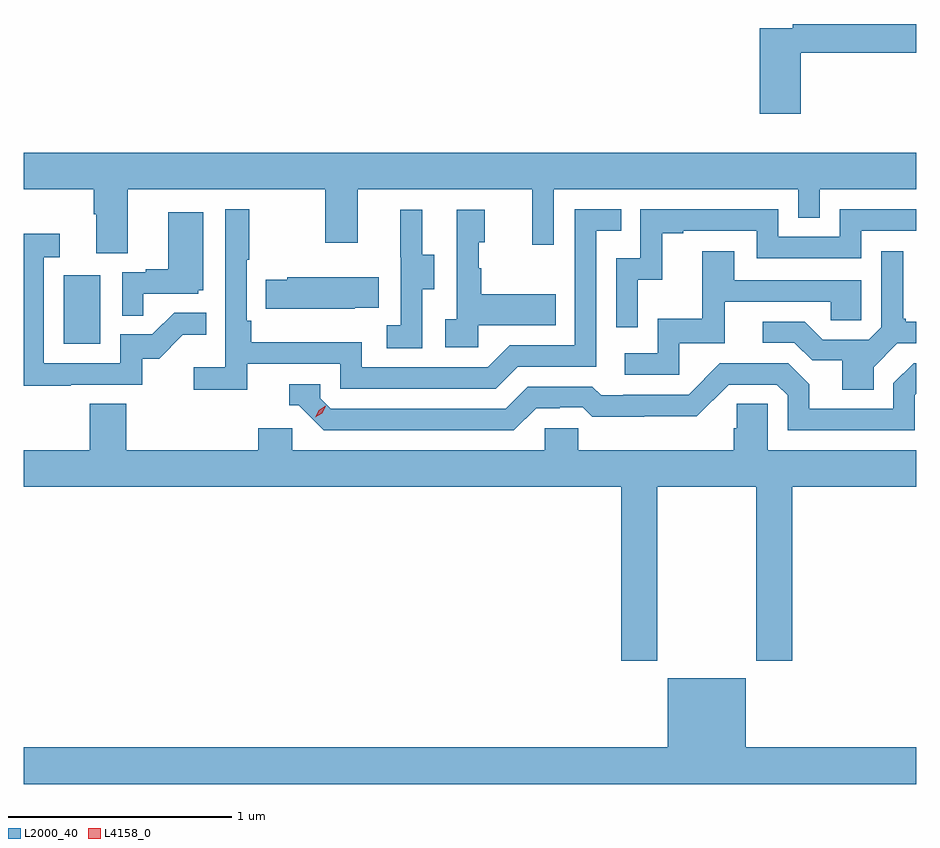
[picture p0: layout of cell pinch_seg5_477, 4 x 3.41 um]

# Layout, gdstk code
import gdstk
lib = gdstk.Library(unit=1e-6, precision=1e-09)
def R(c, l, rs):  # rectangles x0, y0, x1, y1
    for r in rs: c.add(gdstk.rectangle(r[:2], r[2:], *l))
def P(c, l, *ps):  # polygons
    for p in ps: c.add(gdstk.Polygon(p, *l))
L2000_40 = (2000, 40)
L4158_0 = (4158, 0)

pinch_seg5_477 = lib.new_cell('pinch_seg5_477')
R(pinch_seg5_477, L2000_40, [(940.322,837.42,940.486,837.727)])
P(pinch_seg5_477, L2000_40, [(943.625,838.725),(944.143,838.725),(944.143,838.853),(943.588,838.853),(943.588,838.833),(943.442,838.833),(943.442,838.452),(943.625,838.452)],
  [(940.609,838.112),(941.494,838.112),(941.494,837.873),(941.641,837.873),(941.641,838.112),(942.422,838.112),(942.422,837.864),(942.519,837.864),(942.519,838.112),(943.614,838.112),(943.614,837.985),(943.71,837.985),(943.71,838.112),(944.143,838.112),(944.143,838.276),(940.143,838.276),(940.143,838.112),(940.457,838.112),(940.457,838),(940.469,838),(940.469,837.826),(940.609,837.826)],
  [(941.144,837.33),(941.562,837.33),(941.562,837.219),(942.259,837.219),(942.358,837.318),(942.708,837.318),(942.708,837.927),(942.821,837.927),(942.821,838.023),(942.612,838.023),(942.612,837.414),(942.321,837.414),(942.222,837.315),(941.658,837.315),(941.658,837.427),(941.162,837.427),(941.162,837.523),(941.142,837.523),(941.142,837.796),(941.155,837.796),(941.155,838.024),(941.046,838.024),(941.046,837.316),(940.905,837.316),(940.905,837.214),(941.144,837.214)],
  [(942.894,837.707),(943.004,837.707),(943.004,837.915),(943.099,837.915),(943.099,837.927),(943.428,837.927),(943.428,837.804),(943.896,837.804),(943.896,837.927),(944.143,837.927),(944.143,838.023),(943.8,838.023),(943.8,837.9),(943.524,837.9),(943.524,838.023),(942.906,838.023),(942.906,837.804),(942.798,837.804),(942.798,837.495),(942.894,837.495)],
  [(941.928,837.664),(941.983,837.664),(941.983,837.819),(941.929,837.819),(941.929,838.021),(941.831,838.021),(941.831,837.807),(941.832,837.807),(941.832,837.503),(941.769,837.503),(941.769,837.4),(941.928,837.4)],
  [(942.18,837.503),(942.527,837.503),(942.527,837.643),(942.193,837.643),(942.193,837.758),(942.183,837.758),(942.183,837.876),(942.208,837.876),(942.208,838.021),(942.084,838.021),(942.084,837.53),(942.033,837.53),(942.033,837.405),(942.18,837.405)],
  [(940.679,837.645),(940.926,837.645),(940.926,837.66),(940.948,837.66),(940.948,838.009),(940.79,838.009),(940.79,837.754),(940.691,837.754),(940.691,837.741),(940.584,837.741),(940.584,837.547),(940.679,837.547)],
  [(940.355,837.237),(940.674,837.237),(940.674,837.354),(940.75,837.354),(940.857,837.461),(940.961,837.461),(940.961,837.56),(940.817,837.56),(940.719,837.462),(940.575,837.462),(940.575,837.333),(940.233,837.333),(940.233,837.807),(940.306,837.807),(940.306,837.913),(940.143,837.913),(940.143,837.232),(940.355,837.232)],
  [(943.951,837.316),(944.058,837.423),(944.143,837.423),(944.143,837.52),(944.095,837.52),(944.095,837.532),(944.083,837.532),(944.083,837.835),(943.986,837.835),(943.986,837.495),(943.929,837.438),(943.723,837.438),(943.642,837.519),(943.455,837.519),(943.455,837.426),(943.596,837.426),(943.676,837.346),(943.811,837.346),(943.811,837.214),(943.951,837.214)],
  [(943.08,837.423),(943.285,837.423),(943.285,837.609),(943.759,837.609),(943.759,837.525),(943.896,837.525),(943.896,837.705),(943.327,837.705),(943.327,837.835),(943.183,837.835),(943.183,837.532),(942.984,837.532),(942.984,837.378),(942.837,837.378),(942.837,837.282),(943.08,837.282)],
  [(941.627,837.581),(941.735,837.581),(941.735,837.718),(941.325,837.718),(941.325,837.708),(941.227,837.708),(941.227,837.578),(941.627,837.578)],
  [(942.439,837.132),(942.546,837.132),(942.546,837.135),(942.649,837.135),(942.691,837.093),(942.924,837.093),(942.924,837.095),(943.16,837.095),(943.302,837.237),(943.518,837.237),(943.566,837.189),(943.566,837.033),(944.136,837.033),(944.136,837.189),(944.143,837.196),(944.143,837.333),(944.13,837.333),(944.04,837.243),(944.04,837.129),(943.663,837.129),(943.663,837.239),(943.569,837.333),(943.263,837.333),(943.122,837.192),(942.829,837.192),(942.829,837.189),(942.73,837.189),(942.691,837.228),(942.402,837.228),(942.303,837.129),(941.52,837.129),(941.472,837.177),(941.472,837.24),(941.333,837.24),(941.333,837.144),(941.376,837.144),(941.487,837.033),(942.34,837.033)],
  [(942.981,836.78),(943.426,836.78),(943.426,836.001),(943.586,836.001),(943.586,836.78),(944.143,836.78),(944.143,836.944),(943.476,836.944),(943.476,837.152),(943.339,837.152),(943.339,837.042),(943.325,837.042),(943.325,836.944),(942.627,836.944),(942.627,837.042),(942.477,837.042),(942.477,836.944),(941.346,836.944),(941.346,837.042),(941.195,837.042),(941.195,836.944),(940.604,836.944),(940.604,837.152),(940.439,837.152),(940.439,836.944),(940.143,836.944),(940.143,836.78),(942.821,836.78),(942.821,836.001),(942.981,836.001)],
  [(944.143,835.612),(943.378,835.612),(943.378,835.921),(943.028,835.921),(943.028,835.612),(940.143,835.612),(940.143,835.448),(944.143,835.448)])
P(pinch_seg5_477, L4158_0, [(941.449,837.091),(941.449,837.091),(941.466,837.123),(941.497,837.142),(941.497,837.142),(941.497,837.141),(941.481,837.109),(941.45,837.091)])

lib.write_gds('pinch_seg5_477.gds')
